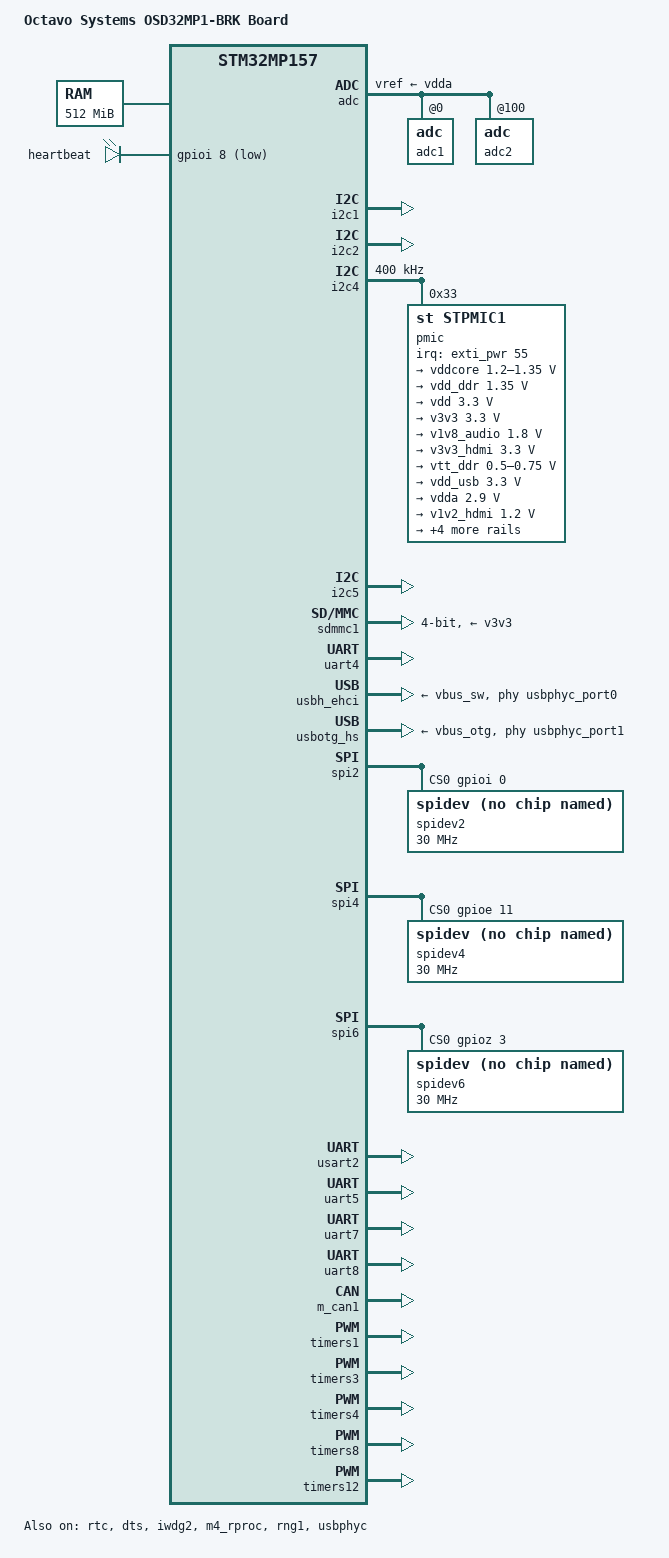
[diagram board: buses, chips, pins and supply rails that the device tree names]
// SPDX-License-Identifier: (GPL-2.0+ OR BSD-3-Clause)
/*
 * Copyright (C) STMicroelectronics 2018 - All Rights Reserved
 * Author: Alexandre Torgue <alexandre.torgue@st.com>.
 */

/dts-v1/;

#include "stm32mp157c.dtsi"
#include "stm32mp157-pinctrl-brk.dtsi"
#include "stm32mp157c-m4-srm.dtsi"
#include <dt-bindings/input/input.h>
#include <dt-bindings/mfd/st,stpmic1.h>
#include <dt-bindings/rtc/rtc-stm32.h>

/ {
	model = "Octavo Systems OSD32MP1-BRK Board";
	compatible = "st,stm32mp157c-brk", "st,stm32mp157";

	aliases {
		serial0 = &uart4;
    serial2 = &usart2;
    serial5 = &uart5;
    serial7 = &uart7;
    serial1 = &uart8;
	};

	chosen {
		stdout-path = "serial0:115200n8";
	};

	memory@c0000000 {
		reg = <0xc0000000 0x20000000>;
	};

	reserved-memory {
		#address-cells = <1>;
		#size-cells = <1>;
		ranges;

		retram: retram@0x38000000 {
			compatible = "shared-dma-pool";
			reg = <0x38000000 0x10000>;
			no-map;
		};

		mcuram: mcuram@0x30000000 {
			compatible = "shared-dma-pool";
			reg = <0x30000000 0x40000>;
			no-map;
		};

		mcuram2: mcuram2@0x10000000 {
			compatible = "shared-dma-pool";
			reg = <0x10000000 0x40000>;
			no-map;
		};

		vdev0vring0: vdev0vring0@10040000 {
			compatible = "shared-dma-pool";
			reg = <0x10040000 0x2000>;
			no-map;
		};

		vdev0vring1: vdev0vring1@10042000 {
			compatible = "shared-dma-pool";
			reg = <0x10042000 0x2000>;
			no-map;
		};

		vdev0buffer: vdev0buffer@10044000 {
			compatible = "shared-dma-pool";
			reg = <0x10044000 0x4000>;
			no-map;
		};

		gpu_reserved: gpu@d4000000 {
			reg = <0xd4000000 0x4000000>;
			no-map;
		};
	};

	sram: sram@10050000 {
		compatible = "mmio-sram";
		reg = <0x10050000 0x10000>;
		#address-cells = <1>;
		#size-cells = <1>;
		ranges = <0 0x10050000 0x10000>;

		dma_pool: dma_pool@0 {
			reg = <0x0 0x10000>;
			pool;
		};
	};

	led {
		compatible = "gpio-leds";
		blue {
			label = "heartbeat";
			gpios = <&gpioi 8 GPIO_ACTIVE_LOW>;
			linux,default-trigger = "heartbeat";
			default-state = "off";
		};
	};

	usb_phy_tuning: usb-phy-tuning {
		st,hs-dc-level = <2>;
		st,fs-rftime-tuning;
		st,hs-rftime-reduction;
		st,hs-current-trim = <15>;
		st,hs-impedance-trim = <1>;
		st,squelch-level = <3>;
		st,hs-rx-offset = <2>;
		st,no-lsfs-sc;
	};
};

&rtc {
	st,lsco = <RTC_OUT2_RMP>;
	pinctrl-0 = <&rtc_out2_rmp_pins_a>;
	pinctrl-names = "default";
};

&adc {
	vdd-supply = <&vdd>;
	vdda-supply = <&vdda>;
	vref-supply = <&vdda>;
	status = "okay";
	adc1: adc@0 {
		st,min-sample-time-nsecs = <5000>;
		st,adc-channels = <0 1>;
		status = "okay";
	};
  adc2: adc@100 {
    status = "okay";
  };
	adc_temp: temp {
		status = "okay";
	};
};

&cpu0{
	cpu-supply = <&vddcore>;
};

&cpu1{
	cpu-supply = <&vddcore>;
};

&dma1 {
	sram = <&dma_pool>;
};

&dma2 {
	sram = <&dma_pool>;
};

&dts {
	status = "okay";
};

&i2c1 {
	pinctrl-names = "default", "sleep";
	pinctrl-0 = <&i2c1_pins_a>;
	pinctrl-1 = <&i2c1_pins_sleep_a>;
	i2c-scl-rising-time-ns = <100>;
	i2c-scl-falling-time-ns = <7>;
	status = "okay";
	/delete-property/dmas;
	/delete-property/dma-names;
};

&i2c2 {
	pinctrl-names = "default", "sleep";
	pinctrl-0 = <&i2c2_pins_a>;
	pinctrl-1 = <&i2c2_pins_sleep_a>;
	i2c-scl-rising-time-ns = <100>;
	i2c-scl-falling-time-ns = <7>;
	status = "okay";
	/delete-property/dmas;
	/delete-property/dma-names;
};

&i2c4 {
	pinctrl-names = "default", "sleep";
	pinctrl-0 = <&i2c4_pins_a>;
	pinctrl-1 = <&i2c4_pins_sleep_a>;
	i2c-scl-rising-time-ns = <185>;
	i2c-scl-falling-time-ns = <20>;
	clock-frequency = <400000>;
	status = "okay";
	/delete-property/dmas;
	/delete-property/dma-names;

	pmic: stpmic@33 {
		compatible = "st,stpmic1";
		reg = <0x33>;
		interrupts-extended = <&exti_pwr 55 IRQ_TYPE_EDGE_FALLING>;
		interrupt-controller;
		#interrupt-cells = <2>;
		status = "okay";
		wakeup-source;

		regulators {
			compatible = "st,stpmic1-regulators";

			ldo1-supply = <&v3v3>;
			ldo3-supply = <&vdd_ddr>;
			ldo6-supply = <&v3v3>;
			pwr_sw1-supply = <&bst_out>;
			pwr_sw2-supply = <&bst_out>;

			vddcore: buck1 {
				regulator-name = "vddcore";
				regulator-min-microvolt = <1200000>;
				regulator-max-microvolt = <1350000>;
				regulator-always-on;
				regulator-initial-mode = <0>;
				regulator-over-current-protection;
			};

			vdd_ddr: buck2 {
				regulator-name = "vdd_ddr";
				regulator-min-microvolt = <1350000>;
				regulator-max-microvolt = <1350000>;
				regulator-always-on;
				regulator-initial-mode = <0>;
				regulator-over-current-protection;
			};

			vdd: buck3 {
				regulator-name = "vdd";
				regulator-min-microvolt = <3300000>;
				regulator-max-microvolt = <3300000>;
				regulator-always-on;
				st,mask-reset;
				regulator-initial-mode = <0>;
				regulator-over-current-protection;
			};

			v3v3: buck4 {
				regulator-name = "v3v3";
				regulator-min-microvolt = <3300000>;
				regulator-max-microvolt = <3300000>;
				regulator-always-on;
				regulator-over-current-protection;
				regulator-initial-mode = <0>;
			};

			v1v8_audio: ldo1 {
				regulator-name = "v1v8_audio";
				regulator-min-microvolt = <1800000>;
				regulator-max-microvolt = <1800000>;
				regulator-always-on;
				interrupts = <IT_CURLIM_LDO1 0>;

			};

			v3v3_hdmi: ldo2 {
				regulator-name = "v3v3_hdmi";
				regulator-min-microvolt = <3300000>;
				regulator-max-microvolt = <3300000>;
				regulator-always-on;
				interrupts = <IT_CURLIM_LDO2 0>;

			};

			vtt_ddr: ldo3 {
				regulator-name = "vtt_ddr";
				regulator-min-microvolt = <500000>;
				regulator-max-microvolt = <750000>;
				regulator-always-on;
				regulator-over-current-protection;
			};

			vdd_usb: ldo4 {
				regulator-name = "vdd_usb";
				regulator-min-microvolt = <3300000>;
				regulator-max-microvolt = <3300000>;
				interrupts = <IT_CURLIM_LDO4 0>;
			};

			vdda: ldo5 {
				regulator-name = "vdda";
				regulator-min-microvolt = <2900000>;
				regulator-max-microvolt = <2900000>;
				interrupts = <IT_CURLIM_LDO5 0>;
			};

			v1v2_hdmi: ldo6 {
				regulator-name = "v1v2_hdmi";
				regulator-min-microvolt = <1200000>;
				regulator-max-microvolt = <1200000>;
				regulator-always-on;
				interrupts = <IT_CURLIM_LDO6 0>;

			};

			vref_ddr: vref_ddr {
				regulator-name = "vref_ddr";
				regulator-always-on;
				regulator-over-current-protection;
			};

			 bst_out: boost {
				regulator-name = "bst_out";
				interrupts = <IT_OCP_BOOST 0>;
			 };

			vbus_otg: pwr_sw1 {
				regulator-name = "vbus_otg";
				interrupts = <IT_OCP_OTG 0>;
			 };

			 vbus_sw: pwr_sw2 {
				regulator-name = "vbus_sw";
				interrupts = <IT_OCP_SWOUT 0>;
				regulator-active-discharge = <1>;
			 };
		};

		onkey {
			compatible = "st,stpmic1-onkey";
			interrupts = <IT_PONKEY_F 0>, <IT_PONKEY_R 0>;
			interrupt-names = "onkey-falling", "onkey-rising";
			power-off-time-sec = <10>;
			status = "okay";
		};

		watchdog {
			compatible = "st,stpmic1-wdt";
			status = "disabled";
		};
	};
};

&i2c5 {
	pinctrl-names = "default", "sleep";
	pinctrl-0 = <&i2c5_pins_a>;
	pinctrl-1 = <&i2c5_pins_sleep_a>;
	/delete-property/dmas;
	/delete-property/dma-names;
	status = "okay";
};

&ipcc {
	status = "okay";
};

&iwdg2 {
	timeout-sec = <32>;
	status = "okay";
};


&m4_rproc {
	memory-region = <&retram>, <&mcuram>, <&mcuram2>, <&vdev0vring0>,
			<&vdev0vring1>, <&vdev0buffer>;
	mboxes = <&ipcc 0>, <&ipcc 1>, <&ipcc 2>;
	mbox-names = "vq0", "vq1", "shutdown";
	interrupt-parent = <&exti>;
	interrupts = <68 1>;
	interrupt-names = "wdg";
	wakeup-source;
	recovery;
	status = "okay";
};

&pwr {
	pwr-regulators {
		vdd-supply = <&vdd>;
		vdd_3v3_usbfs-supply = <&vdd_usb>;
	};
};

&rng1 {
	status = "okay";
};

&rtc {
	status = "okay";
};

&sdmmc1 {
	pinctrl-names = "default", "opendrain", "sleep";
	pinctrl-0 = <&sdmmc1_b4_pins_a>;
	pinctrl-1 = <&sdmmc1_b4_od_pins_a>;
	pinctrl-2 = <&sdmmc1_b4_sleep_pins_a>;
	broken-cd;
	st,neg-edge;
	bus-width = <4>;
	vmmc-supply = <&v3v3>;
	status = "okay";
};

&uart4 {
	pinctrl-names = "default", "sleep", "idle", "no_console_suspend";
	pinctrl-0 = <&uart4_pins_a>;
	pinctrl-1 = <&uart4_sleep_pins_a>;
	pinctrl-2 = <&uart4_idle_pins_a>;
	pinctrl-3 = <&uart4_pins_a>;
	/delete-property/dmas;
	/delete-property/dma-names;
	status = "okay";
};

&usbh_ehci{
	status = "okay";

	/* USER CODE BEGIN usbh_ehci */
	phys = <&usbphyc_port0>;
	phy-names = "usb";
	vbus-supply = <&vbus_sw>;
	/* USER CODE END usbh_ehci */
};

&usbotg_hs{
	pinctrl-names = "default";
	pinctrl-0 = <&usbotg_hs_pins_a>;
	status = "okay";

	/* USER CODE BEGIN usbotg_hs */
	phys = <&usbphyc_port1 0>;
	phy-names = "usb2-phy";
  vbus-supply = <&vbus_otg>;
	/* USER CODE END usbotg_hs */
};

&usbphyc{
	status = "okay";

	/* USER CODE BEGIN usbphyc */
	vdd3v3-supply = <&vdd_usb>;
	/* USER CODE END usbphyc */
};

&usbphyc_port0{

	/* USER CODE BEGIN usbphyc_port0 */
	st,phy-tuning = <&usb_phy_tuning>;
	/* USER CODE END usbphyc_port0 */
};

&usbphyc_port1{

	/* USER CODE BEGIN usbphyc_port1 */
	st,phy-tuning = <&usb_phy_tuning>;
	/* USER CODE END usbphyc_port1 */
};

&spi2 {
	pinctrl-names = "default", "sleep";
	pinctrl-0 = <&spi2_pins_a>;
	pinctrl-1 = <&spi2_sleep_pins_a>;
  cs-gpios = <&gpioi 0 0>;
	status = "okay";

  spidev2: spidev2@0{
    compatible = "rohm,dh2228fv";
    spi-max-frequency = <30000000>;
    reg = <0>;
  };
};

&spi4 {
	pinctrl-names = "default", "sleep";
	pinctrl-0 = <&spi4_pins_a>;
	pinctrl-1 = <&spi4_sleep_pins_a>;
  cs-gpios = <&gpioe 11 0>;
	status = "okay";

  spidev4: spidev4@0{
    compatible = "rohm,dh2228fv";
    spi-max-frequency = <30000000>;
    reg = <0>;
  };
};

&spi6 {
	pinctrl-names = "default", "sleep";
	pinctrl-0 = <&spi6_pins_a>;
	pinctrl-1 = <&spi6_sleep_pins_a>;
  cs-gpios = <&gpioz 3 0>;
	status = "okay";

  spidev6: spidev6@0{
    compatible = "rohm,dh2228fv";
    spi-max-frequency = <30000000>;
    reg = <0>;
  };
};

&usart2 {
	pinctrl-names = "default", "sleep", "idle";
	pinctrl-0 = <&usart2_pins_a>;
	pinctrl-1 = <&usart2_sleep_pins_a>;
	pinctrl-2 = <&usart2_idle_pins_a>;
	status = "okay";
};

&uart5 {
	pinctrl-names = "default", "sleep", "idle";
	pinctrl-0 = <&uart5_pins_a>;
	pinctrl-1 = <&uart5_sleep_pins_a>;
	pinctrl-2 = <&uart5_idle_pins_a>;
	status = "okay";
};

&uart7 {
	pinctrl-names = "default", "sleep", "idle";
	pinctrl-0 = <&uart7_pins_a>;
	pinctrl-1 = <&uart7_sleep_pins_a>;
	pinctrl-2 = <&uart7_idle_pins_a>;
	status = "okay";
};

&uart8 {
	pinctrl-names = "default", "sleep", "idle";
	pinctrl-0 = <&uart8_pins_a>;
	pinctrl-1 = <&uart8_sleep_pins_a>;
	pinctrl-2 = <&uart8_idle_pins_a>;
	status = "okay";
};

&m_can1 {
	pinctrl-names = "default", "sleep";
	pinctrl-0 = <&m_can1_pins_a>;
	pinctrl-1 = <&m_can1_sleep_pins_a>;
	status = "okay";
};

&timers1 {
	status = "okay";
	/* spare dmas for other usage */
	/delete-property/dmas;
	/delete-property/dma-names;
	pwm1: pwm {
    pinctrl-names = "default", "sleep";
	  pinctrl-0 = <&pwm1_pins_a>;
	  pinctrl-1 = <&pwm1_sleep_pins_a>;
		status = "okay";
	};
};

&timers3 {
	status = "okay";
	/* spare dmas for other usage */
	/delete-property/dmas;
	/delete-property/dma-names;
	pwm3: pwm {
    pinctrl-names = "default", "sleep";
	  pinctrl-0 = <&pwm3_pins_a>;
	  pinctrl-1 = <&pwm3_sleep_pins_a>;
		status = "okay";
	};
};

&timers4 {
	status = "okay";
	/* spare dmas for other usage */
	/delete-property/dmas;
	/delete-property/dma-names;
	pwm4: pwm {
    pinctrl-names = "default", "sleep";
	  pinctrl-0 = <&pwm4_pins_a>;
	  pinctrl-1 = <&pwm4_sleep_pins_a>;
		status = "okay";
	};
};

&timers8 {
	status = "okay";
	/* spare dmas for other usage */
	/delete-property/dmas;
	/delete-property/dma-names;
	pwm8: pwm {
    pinctrl-names = "default", "sleep";
	  pinctrl-0 = <&pwm8_pins_a>;
	  pinctrl-1 = <&pwm8_sleep_pins_a>;
		status = "okay";
	};
};

&timers12 {
	status = "okay";
	/* spare dmas for other usage */
	/delete-property/dmas;
	/delete-property/dma-names;
	pwm12: pwm {
    pinctrl-names = "default", "sleep";
	  pinctrl-0 = <&pwm12_pins_a>;
	  pinctrl-1 = <&pwm12_sleep_pins_a>;
		status = "okay";
	};
};
